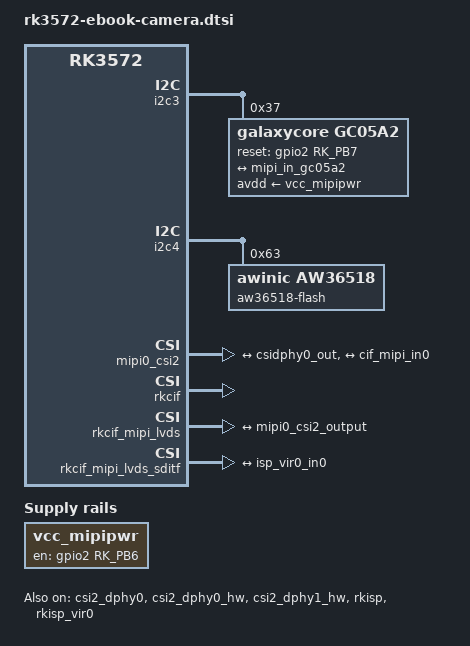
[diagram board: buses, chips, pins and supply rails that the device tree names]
// SPDX-License-Identifier: (GPL-2.0+ OR MIT)
/*
 * Copyright (c) 2026 Rockchip Electronics Co., Ltd.
 *
 */
/ {
	vcc_mipipwr: vcc-mipipwr-regulator {
		compatible = "regulator-fixed";
		gpio = <&gpio2 RK_PB6 GPIO_ACTIVE_HIGH>;
		pinctrl-names = "default";
		pinctrl-0 = <&mipicam_pwr>;
		regulator-name = "vcc_mipipwr";
		enable-active-high;
		regulator-boot-on;
	};
};

&csi2_dphy0 {
	status = "okay";

	ports {
		#address-cells = <1>;
		#size-cells = <0>;
		port@0 {
			reg = <0>;
			#address-cells = <1>;
			#size-cells = <0>;

			mipi_in_gc05a2: endpoint@1 {
				reg = <1>;
				remote-endpoint = <&gc05a2_out>;
				data-lanes = <1 2>;
			};

		};
		port@1 {
			reg = <1>;
			#address-cells = <1>;
			#size-cells = <0>;

			csidphy0_out: endpoint@0 {
				reg = <0>;
				remote-endpoint = <&mipi0_csi2_input>;
			};
		};
	};
};

&csi2_dphy0_hw {
	status = "okay";
};

&csi2_dphy1_hw {
	status = "okay";
};

&i2c3 {
	status = "okay";

	gc05a2: gc05a2@37 {
		compatible = "galaxycore,gc05a2";
		status = "okay";
		reg = <0x37>;

		clocks = <&cru CAM_CLK0_OUT_IOUT>;
		clock-names = "xvclk";
		pinctrl-names = "default";
		pinctrl-0 = <&cam_clk0m1_clk0_pins>;
		power-domains = <&power RK3572_PD_VI>;

		avdd-supply = <&vcc_mipipwr>;
		//dovdd-supply = <&vcc_1v8_cam>;
		//dvdd-supply = <&vcc1v2_dvp>;

		//reset pin control by hardware,used this pin switch to mipi input
		//0->FRONT camera, 1->REAR camera
		//power-gpios = <&gpio2 RK_PB6 GPIO_ACTIVE_HIGH>;
		reset-gpios = <&gpio2 RK_PB7 GPIO_ACTIVE_HIGH>;

		rockchip,camera-module-index = <0>;
		rockchip,camera-module-facing = "back";
		rockchip,camera-module-name = "KYT-11210-V2";//"P10K";//"KYT-11210-V2";
		rockchip,camera-module-lens-name = "default";//"DL5020";//"default";
		flash-leds = <&aw36518_led0>;

		port {
			gc05a2_out: endpoint {
				remote-endpoint = <&mipi_in_gc05a2>;
				data-lanes = <1 2>;
			};
		};
	};
};

&i2c4 {
	status = "okay";
	pinctrl-names = "default";
	pinctrl-0 = <&i2c4m2_xfer_pins>;

	flashlight: aw36518@63 {
		status = "okay";
		#address-cells = <1>;
		#size-cells = <0>;
		compatible = "awinic,aw36518";
		label = "aw36518-flash";
		reg = <0x63>;
		rockchip,camera-module-index = <0>;
		rockchip,camera-module-facing = "back";
		aw36518_led0: led@0 {
			reg = <0x0>;
			led-max-microamp = <299200>;//torch模式最大电流
			flash-max-microamp = <1122000>;//flash模式最大电流
			flash-max-timeout-us = <1600000>;//falsh最大时间
		};
		aw36518_led1: led@1 {
			reg = <0x1>;
			led-max-microamp = <299200>;//torch模式最大电流
			flash-max-microamp = <1122000>;//flash模式最大电流
			flash-max-timeout-us = <1600000>;//falsh最大时间
		};
	};
};

&mipi0_csi2 {
	status = "okay";

	ports {
		#address-cells = <1>;
		#size-cells = <0>;

		port@0 {
			reg = <0>;
			#address-cells = <1>;
			#size-cells = <0>;

			mipi0_csi2_input: endpoint@1 {
				reg = <1>;
				remote-endpoint = <&csidphy0_out>;
			};
		};

		port@1 {
			reg = <1>;
			#address-cells = <1>;
			#size-cells = <0>;

			mipi0_csi2_output: endpoint@0 {
				reg = <0>;
				remote-endpoint = <&cif_mipi_in0>;
			};
		};
	};
};

&pinctrl {
	cam {
		mipicam_pwr: mipicam-pwr {
			rockchip,pins =
				/* camera power en */
				<2 RK_PB6 RK_FUNC_GPIO &pcfg_pull_none>,
				<2 RK_PB7 RK_FUNC_GPIO &pcfg_pull_none>;  /* cam rst */
		};
	};
};

&rkcif {
	status = "okay";
};

&rkcif_mipi_lvds {
	status = "okay";

	port {
		cif_mipi_in0: endpoint {
			remote-endpoint = <&mipi0_csi2_output>;
		};
	};
};

&rkcif_mipi_lvds_sditf {
	status = "okay";

	port {
		mipi_lvds_sditf: endpoint {
			remote-endpoint = <&isp_vir0_in0>;
		};
	};
};

&rkcif_mmu {
	status = "okay";
};

&rkisp {
	status = "okay";
};

&rkisp_mmu {
	status = "okay";
};

&rkisp_vir0 {
	status = "okay";

	port {
		#address-cells = <1>;
		#size-cells = <0>;

		isp_vir0_in0: endpoint@0 {
			reg = <0>;
			remote-endpoint = <&mipi_lvds_sditf>;
		};
	};
};
